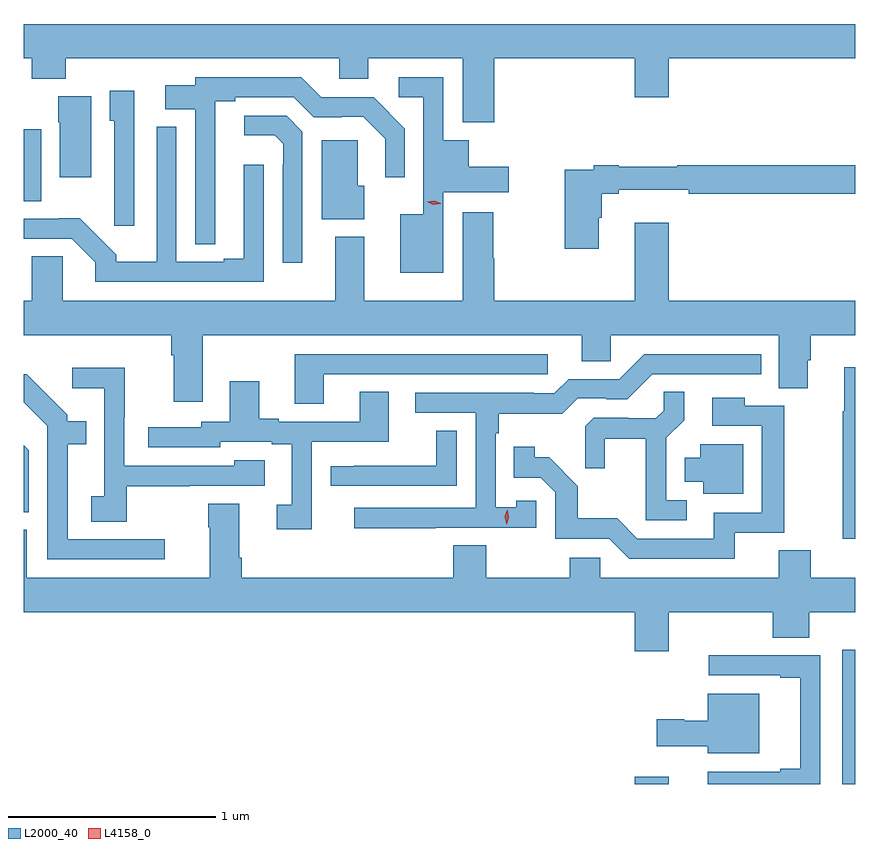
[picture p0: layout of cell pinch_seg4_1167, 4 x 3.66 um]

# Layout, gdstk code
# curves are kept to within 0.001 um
import gdstk
lib = gdstk.Library(unit=1e-6, precision=1e-09)
def R(c, l, rs):  # rectangles x0, y0, x1, y1
    for r in rs: c.add(gdstk.rectangle(r[:2], r[2:], *l))
def P(c, l, *ps):  # polygons
    for p in ps: c.add(gdstk.Polygon(p, *l))
L2000_40 = (2000, 40)
L4158_0 = (4158, 0)

pinch_seg4_1167 = lib.new_cell('pinch_seg4_1167')
R(pinch_seg4_1167, L2000_40, [(428.744,762.693,428.908,762.727), (429.743,762.693,429.805,763.339), (425.805,765.496,425.89,765.841)])
P(pinch_seg4_1167, L2000_40, [(428.069,766.184),(428.744,766.184),(428.744,765.996),(428.908,765.996),(428.908,766.184),(429.805,766.184),(429.805,766.348),(425.805,766.348),(425.805,766.184),(425.843,766.184),(425.843,766.085),(426.008,766.085),(426.008,766.184),(427.322,766.184),(427.322,766.085),(427.462,766.085),(427.462,766.184),(427.916,766.184),(427.916,765.875),(428.069,765.875)],
  [(427.824,765.539),(428.137,765.539),(428.137,765.661),(427.945,765.661),(427.945,765.79),(427.824,765.79),(427.824,766.092),(427.608,766.092),(427.608,765.996),(427.728,765.996),(427.728,765.433),(427.616,765.433),(427.616,765.152),(427.824,765.152)],
  [(426.726,765.397),(426.727,765.976),(426.823,765.976),(426.823,765.996),(427.104,765.996),(427.2,765.9),(427.336,765.9),(427.336,765.902),(427.438,765.902),(427.544,765.797),(427.544,765.612),(427.638,765.612),(427.638,765.844),(427.488,765.996),(427.237,765.996),(427.141,766.092),(426.63,766.092),(426.63,766.054),(426.486,766.054),(426.486,765.938),(426.63,765.938),(426.63,765.289),(426.726,765.289)],
  [(426.336,766.027),(426.218,766.027),(426.218,765.882),(426.24,765.882),(426.24,765.378),(426.336,765.378)],
  [(426.13,766),(425.972,766),(425.972,765.876),(425.978,765.876),(425.978,765.612),(426.13,765.612)],
  [(427.146,765.831),(427.071,765.906),(426.867,765.906),(426.867,765.812),(427.013,765.812),(427.053,765.771),(427.053,765.671),(427.05,765.671),(427.05,765.201),(427.146,765.201)],
  [(426.96,765.67),(426.863,765.67),(426.863,765.219),(426.767,765.219),(426.767,765.204),(426.54,765.204),(426.54,765.853),(426.444,765.853),(426.444,765.205),(426.25,765.205),(426.25,765.239),(426.076,765.413),(425.975,765.413),(425.975,765.411),(425.805,765.411),(425.805,765.315),(426.036,765.315),(426.15,765.202),(426.15,765.108),(426.96,765.108)],
  [(427.444,765.571),(427.411,765.571),(427.411,765.789),(427.238,765.789),(427.238,765.41),(427.444,765.41)],
  [(428.572,765.417),(428.585,765.417),(428.585,765.532),(428.668,765.532),(428.668,765.551),(429.004,765.551),(429.004,765.532),(429.805,765.532),(429.805,765.668),(428.948,765.668),(428.948,765.661),(428.668,765.661),(428.668,765.668),(428.548,765.668),(428.548,765.648),(428.407,765.648),(428.407,765.267),(428.572,765.267)],
  [(426.667,764.852),(428.489,764.852),(428.489,764.725),(428.628,764.725),(428.628,764.852),(429.437,764.852),(429.437,764.596),(429.577,764.596),(429.577,764.73),(429.59,764.73),(429.59,764.852),(429.805,764.852),(429.805,765.016),(428.908,765.016),(428.908,765.391),(428.744,765.391),(428.744,765.016),(428.069,765.016),(428.069,765.221),(428.064,765.221),(428.064,765.442),(427.916,765.442),(427.916,765.016),(427.444,765.016),(427.444,765.325),(427.304,765.325),(427.304,765.016),(425.994,765.016),(425.994,765.23),(425.843,765.23),(425.843,765.016),(425.805,765.016),(425.805,764.852),(426.515,764.852),(426.515,764.756),(426.527,764.756),(426.527,764.532),(426.667,764.532)],
  [(427.787,763.926),(428.271,763.926),(428.271,764.055),(428.175,764.055),(428.175,764.023),(428.076,764.023),(428.076,764.381),(428.089,764.381),(428.089,764.474),(428.396,764.474),(428.469,764.547),(428.608,764.547),(428.608,764.544),(428.709,764.544),(428.829,764.664),(429.352,764.664),(429.352,764.76),(428.79,764.76),(428.67,764.64),(428.427,764.64),(428.358,764.571),(428.258,764.571),(428.258,764.574),(427.689,764.574),(427.689,764.478),(427.98,764.478),(427.98,764.022),(427.395,764.022),(427.395,763.924),(427.787,763.924)],
  [(427.249,764.664),(428.326,764.664),(428.326,764.76),(427.109,764.76),(427.109,764.521),(427.249,764.521)],
  [(429.805,764.698),(429.752,764.698),(429.752,764.485),(429.745,764.485),(429.745,763.872),(429.805,763.872)],
  [(426.301,764.125),(426.605,764.125),(426.605,764.127),(426.964,764.127),(426.964,764.251),(426.819,764.251),(426.819,764.223),(426.288,764.223),(426.288,764.456),(426.291,764.456),(426.291,764.695),(426.039,764.695),(426.039,764.597),(426.192,764.597),(426.192,764.076),(426.129,764.076),(426.129,763.954),(426.301,763.954)],
  [(426.484,763.869),(426.016,763.869),(426.016,764.328),(426.107,764.328),(426.107,764.437),(426.015,764.437),(426.015,764.469),(425.82,764.664),(425.805,764.664),(425.805,764.529),(425.919,764.415),(425.919,763.773),(426.484,763.773)],
  [(427.191,764.34),(427.561,764.34),(427.561,764.579),(427.421,764.579),(427.421,764.436),(427.033,764.436),(427.033,764.449),(426.937,764.449),(426.937,764.629),(426.797,764.629),(426.797,764.436),(426.66,764.436),(426.66,764.409),(426.405,764.409),(426.405,764.313),(426.75,764.313),(426.75,764.34),(426.998,764.34),(426.998,764.328),(427.094,764.328),(427.094,764.037),(427.023,764.037),(427.023,763.917),(427.191,763.917)],
  [(428.995,764.058),(428.895,764.058),(428.895,764.357),(428.981,764.443),(428.981,764.579),(428.883,764.579),(428.883,764.488),(428.846,764.451),(428.712,764.451),(428.712,764.454),(428.547,764.454),(428.506,764.413),(428.506,764.211),(428.6,764.211),(428.6,764.354),(428.798,764.354),(428.798,763.962),(428.995,763.962)],
  [(429.224,763.902),(429.463,763.902),(429.463,764.511),(429.273,764.511),(429.273,764.551),(429.117,764.551),(429.117,764.415),(429.354,764.415),(429.354,763.998),(429.125,763.998),(429.125,763.872),(428.757,763.872),(428.659,763.971),(428.47,763.971),(428.47,764.126),(428.332,764.264),(428.262,764.264),(428.262,764.314),(428.161,764.314),(428.161,764.166),(428.292,764.166),(428.361,764.097),(428.361,763.872),(428.622,763.872),(428.718,763.776),(429.224,763.776)],
  [(427.887,764.393),(427.789,764.393),(427.789,764.223),(427.393,764.223),(427.393,764.222),(427.281,764.222),(427.281,764.127),(427.887,764.127)],
  [(429.265,764.326),(429.059,764.326),(429.059,764.263),(428.984,764.263),(428.984,764.147),(429.074,764.147),(429.074,764.09),(429.265,764.09)],
  [(425.829,764.299),(425.805,764.323),(425.805,764.001),(425.829,764.001)],
  [(428.908,763.52),(429.407,763.52),(429.407,763.396),(429.584,763.396),(429.584,763.52),(429.805,763.52),(429.805,763.684),(429.59,763.684),(429.59,763.817),(429.437,763.817),(429.437,763.684),(428.577,763.684),(428.577,763.782),(428.431,763.782),(428.431,763.684),(428.031,763.684),(428.031,763.841),(427.871,763.841),(427.871,763.684),(426.854,763.684),(426.854,763.78),(426.841,763.78),(426.841,764.041),(426.694,764.041),(426.694,763.928),(426.701,763.928),(426.701,763.684),(425.821,763.684),(425.821,763.916),(425.805,763.916),(425.805,763.52),(428.744,763.52),(428.744,763.332),(428.908,763.332)],
  [(429.636,763.311),(429.323,763.311),(429.323,763.313),(429.099,763.313),(429.099,763.215),(429.443,763.215),(429.443,763.203),(429.539,763.203),(429.539,762.766),(429.443,762.766),(429.443,762.753),(429.096,762.753),(429.096,762.693),(429.636,762.693)],
  [(429.343,763.126),(429.095,763.126),(429.095,762.997),(428.981,762.997),(428.981,763.005),(428.85,763.005),(428.85,762.875),(429.095,762.875),(429.095,762.842),(429.343,762.842)])
P(pinch_seg4_1167, L4158_0, [(427.776,765.479),(427.745,765.493),(427.745,765.494),(427.745,765.494),(427.779,765.499),(427.81,765.485),(427.81,765.485),(427.81,765.484)],
  [(428.128,763.941),(428.128,763.941),(428.119,763.978),(428.13,764.013),(428.131,764.013),(428.131,764.013),(428.139,763.977),(428.128,763.941)])

lib.write_gds('pinch_seg4_1167.gds')
